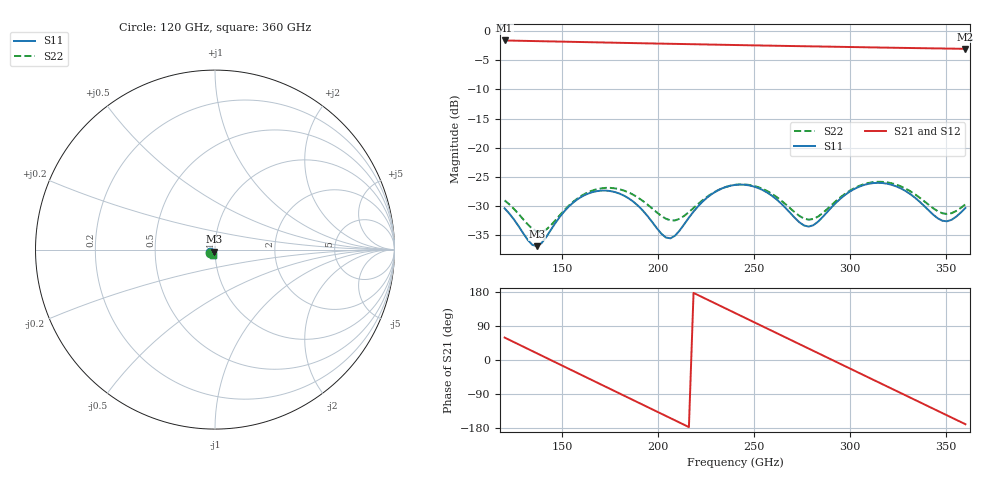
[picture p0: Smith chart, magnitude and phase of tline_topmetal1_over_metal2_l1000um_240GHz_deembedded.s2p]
! Created with skrf 2.2.0 (http://scikit-rf.org).
# GHz S DB R 50.0
! Port[1] = P1
! Port[2] = P2
!freq dBS11 angS11 dBS21 angS21 dBS12 angS12 dBS22 angS22
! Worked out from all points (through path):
!   101 points, 120 GHz to 360 GHz, reference 50 ohm
!   highest |S21| = -1.64 dB at 120 GHz (marker M1); lowest = -3.1 dB at 360 GHz (marker M2)
!   group delay of S21, straight-line fit = 6.81 ps
!   lowest |S11| = -36.8 dB at 136.8 GHz (marker M3), VSWR 1.03, Z = 49.2 - j1.21 ohm
!   |S11| at or under -10 dB: start of sweep to end of sweep
!   |S22| runs from -34.4 to -25.8 dB; largest |S21 - S12| = 1.3e-13
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120  -30.37 -148.5  -1.64 59.2  -1.64 59.2  -29.01 -144.4
136.8  -36.85 -121.1  -1.75 17.8  -1.75 17.8  -34.35 -130.7
148.8  -31.80 -94.7  -1.83 -11.8  -1.83 -11.8  -31.53 -103.1
160.8  -28.25 -107.5  -1.92 -41.4  -1.92 -41.4  -28.07 -109.6
170.4  -27.34 -123.2  -1.98 -65.0  -1.98 -65.0  -26.94 -122.4
180  -27.87 -138.7  -2.05 -88.6  -2.05 -88.6  -27.12 -135.7
189.6  -29.96 -150.3  -2.11 -112.2  -2.11 -112.2  -28.56 -145.6
201.6  -34.70 -141.3  -2.18 -141.7  -2.18 -141.7  -31.66 -142.2
208.8  -35.04 -112.7  -2.23 -159.4  -2.23 -159.4  -32.43 -126.6
220.8  -30.00 -98.0  -2.30 171.2  -2.30 171.2  -29.61 -110.6
240  -26.36 -122.1  -2.42 124.1  -2.42 124.1  -26.35 -126.7
249.6  -26.62 -136.6  -2.48 100.6  -2.48 100.6  -26.51 -138.9
259.2  -28.21 -148.1  -2.54 77.1  -2.54 77.1  -27.88 -148.6
273.6  -32.78 -141.9  -2.62 41.8  -2.62 41.8  -31.68 -142.9
280.8  -33.26 -119.8  -2.66 24.2  -2.66 24.2  -32.19 -125.0
290.4  -30.15 -104.6  -2.71 0.7  -2.71 0.7  -29.77 -110.3
300  -27.46 -109.4  -2.76 -22.8  -2.76 -22.8  -27.30 -113.0
312  -26.05 -124.5  -2.83 -52.2  -2.83 -52.2  -25.89 -125.8
321.6  -26.34 -137.6  -2.88 -75.6  -2.88 -75.6  -26.08 -137.4
338.4  -29.92 -149.0  -2.97 -116.6  -2.97 -116.6  -29.11 -147.1
350.4  -32.59 -126.2  -3.03 -146.0  -3.03 -146.0  -31.33 -128.8
360  -30.31 -107.0  -3.08 -169.4  -3.08 -169.4  -29.68 -111.8
